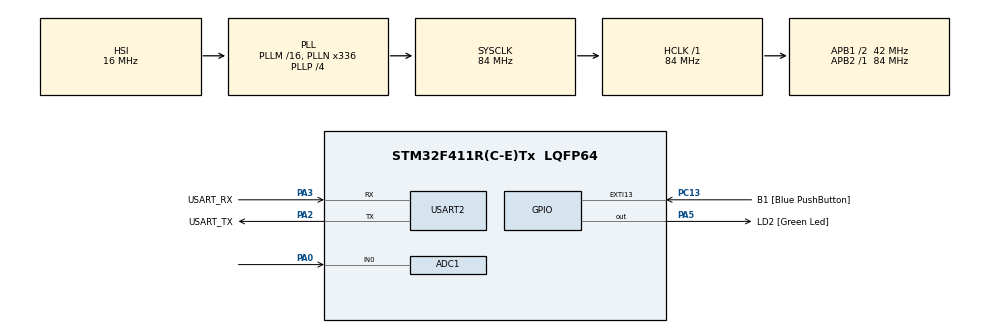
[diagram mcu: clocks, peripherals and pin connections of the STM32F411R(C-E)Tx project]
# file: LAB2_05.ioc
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ADC1.Channel-2\#ChannelRegularConversion=ADC_CHANNEL_0
ADC1.Channel-3\#ChannelRegularConversion=ADC_CHANNEL_TEMPSENSOR
ADC1.ContinuousConvMode=ENABLE
ADC1.DMAContinuousRequests=ENABLE
ADC1.NbrOfConversion=2
ADC1.NbrOfConversionFlag=1
ADC1.Rank-2\#ChannelRegularConversion=1
ADC1.Rank-3\#ChannelRegularConversion=2
ADC1.SamplingTime-2\#ChannelRegularConversion=ADC_SAMPLETIME_56CYCLES
ADC1.SamplingTime-3\#ChannelRegularConversion=ADC_SAMPLETIME_56CYCLES
ADC1.master=1
Dma.ADC1.0.Direction=DMA_PERIPH_TO_MEMORY
Dma.ADC1.0.FIFOMode=DMA_FIFOMODE_DISABLE
Dma.ADC1.0.Instance=DMA2_Stream0
Dma.ADC1.0.MemDataAlignment=DMA_MDATAALIGN_HALFWORD
Dma.ADC1.0.MemInc=DMA_MINC_ENABLE
Dma.ADC1.0.Mode=DMA_CIRCULAR
Dma.ADC1.0.PeriphDataAlignment=DMA_PDATAALIGN_HALFWORD
Dma.ADC1.0.PeriphInc=DMA_PINC_DISABLE
Dma.ADC1.0.Priority=DMA_PRIORITY_LOW
Dma.Request0=ADC1
Mcu.Family=STM32F4
Mcu.Name=STM32F411R(C-E)Tx
Mcu.Package=LQFP64
NVIC.ADC_IRQn=true\:0\:0\:false\:false\:true\:true\:true\:true
NVIC.DMA2_Stream0_IRQn=true\:0\:0\:false\:false\:true\:false\:true\:true
NVIC.PriorityGroup=NVIC_PRIORITYGROUP_0
PA0-WKUP.Signal=ADCx_IN0
PA13.GPIO_Label=TMS
PA13.Mode=Serial_Wire
PA13.Signal=SYS_JTMS-SWDIO
PA14.GPIO_Label=TCK
PA14.Mode=Serial_Wire
PA14.Signal=SYS_JTCK-SWCLK
PA2.GPIO_Label=USART_TX
PA2.Mode=Asynchronous
PA2.Signal=USART2_TX
PA3.GPIO_Label=USART_RX
PA3.Mode=Asynchronous
PA3.Signal=USART2_RX
PA5.GPIO_Label=LD2 [Green Led]
PA5.Signal=GPIO_Output
PB3.GPIO_Label=SWO
PB3.Signal=SYS_JTDO-SWO
PC13-ANTI_TAMP.GPIO_Label=B1 [Blue PushButton]
PC13-ANTI_TAMP.GPIO_ModeDefaultEXTI=GPIO_MODE_IT_FALLING
PC13-ANTI_TAMP.Signal=GPXTI13
PC14-OSC32_IN.Mode=LSE-External-Oscillator
PC14-OSC32_IN.Signal=RCC_OSC32_IN
PC15-OSC32_OUT.Mode=LSE-External-Oscillator
PC15-OSC32_OUT.Signal=RCC_OSC32_OUT
PH0\ -\ OSC_IN.Mode=HSE-External-Clock-Source
PH0\ -\ OSC_IN.Signal=RCC_OSC_IN
PH1\ -\ OSC_OUT.Mode=HSE-External-Clock-Source
PH1\ -\ OSC_OUT.Signal=RCC_OSC_OUT
ProjectManager.HeapSize=0x200
ProjectManager.StackSize=0x400
ProjectManager.TargetToolchain=STM32CubeIDE
RCC.48MHZClocksFreq_Value=84000000
RCC.AHBFreq_Value=84000000
RCC.APB1CLKDivider=RCC_HCLK_DIV2
RCC.APB1Freq_Value=42000000
RCC.APB1TimFreq_Value=84000000
RCC.APB2Freq_Value=84000000
RCC.APB2TimFreq_Value=84000000
RCC.CortexFreq_Value=84000000
RCC.FLatency-AdvancedSettings=FLASH_LATENCY_2
RCC.HCLKFreq_Value=84000000
RCC.HSE_VALUE=8000000
RCC.HSI_VALUE=16000000
RCC.PLLN=336
RCC.PLLP=RCC_PLLP_DIV4
RCC.SYSCLKFreq_VALUE=84000000
RCC.SYSCLKSource=RCC_SYSCLKSOURCE_PLLCLK
RCC.VCOOutputFreq_Value=336000000
SH.ADCx_IN0.0=ADC1_IN0,IN0
USART2.VirtualMode=VM_ASYNC
VP_ADC1_TempSens_Input.Mode=IN-TempSens
board=NUCLEO-F411RE

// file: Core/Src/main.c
/* USER CODE BEGIN Header */
/**
  ******************************************************************************
  * @file           : main.c
  * @brief          : Main program body
  ******************************************************************************
  * @attention
  *
  * Copyright (c) 2023 STMicroelectronics.
  * All rights reserved.
  *
  * This software is licensed under terms that can be found in the LICENSE file
  * in the root directory of this software component.
  * If no LICENSE file comes with this software, it is provided AS-IS.
  *
  ******************************************************************************
  */
/* USER CODE END Header */
#include "main.h"

ADC_HandleTypeDef hadc1;
DMA_HandleTypeDef hdma_adc1;

UART_HandleTypeDef huart2;

/* USER CODE BEGIN PV */
typedef struct{
	uint16_t Voltage;
	uint16_t Temp;
}DMA_ADC_BufferType;
DMA_ADC_BufferType buffer[10];

uint16_t AvgVolt, AvgTemp;
uint16_t AvgSumVolt, AvgSumTemp;
uint16_t AvgSumVoltBitBeforeGain , celsius;
uint16_t AvgSumVoltBitAfterGain, Kelvin;
/* USER CODE END PV */

void SystemClock_Config(void);
static void MX_GPIO_Init(void);
static void MX_DMA_Init(void);
static void MX_USART2_UART_Init(void);
static void MX_ADC1_Init(void);

int main(void)
{

  /* MCU Configuration--------------------------------------------------------*/

  /* Reset of all peripherals, Initializes the Flash interface and the Systick. */
  HAL_Init();

  /* Configure the system clock */
  SystemClock_Config();

  /* Initialize all configured peripherals */
  MX_GPIO_Init();
  MX_DMA_Init();
  MX_USART2_UART_Init();
  MX_ADC1_Init();
  /* USER CODE BEGIN 2 */
  HAL_ADC_Start_DMA(&hadc1, (uint32_t*)buffer, 1000);
  /* USER CODE END 2 */

  /* Infinite loop */
  while (1)
  {

    /* USER CODE BEGIN 3 */
	  for(int i = 0 ; i< 10 ; i++ ){
		 AvgSumVolt += buffer[i].Voltage;
	  }
	  AvgVolt = AvgSumVolt/10;
	  	  AvgSumVoltBitBeforeGain = (AvgSumVolt*0.081);
	  	  AvgSumVoltBitAfterGain = AvgSumVoltBitBeforeGain*2.025;
	  	  AvgSumVolt = 0;

	  for(int j = 0 ; j< 10 ; j++ ){
	  		 AvgSumTemp += buffer[j].Temp;
	  	  }
	  AvgTemp = AvgSumTemp/10;
	  celsius = AvgTemp*0.0243;
	  Kelvin = celsius+273.15;
	  AvgSumTemp = 0;

  }
  /* USER CODE END 3 */
}

void SystemClock_Config(void)
{
  RCC_OscInitTypeDef RCC_OscInitStruct = {0};
  RCC_ClkInitTypeDef RCC_ClkInitStruct = {0};

  /** Configure the main internal regulator output voltage
  */
  __HAL_RCC_PWR_CLK_ENABLE();
  __HAL_PWR_VOLTAGESCALING_CONFIG(PWR_REGULATOR_VOLTAGE_SCALE1);

  /** Initializes the RCC Oscillators according to the specified parameters
  * in the RCC_OscInitTypeDef structure.
  */
  RCC_OscInitStruct.OscillatorType = RCC_OSCILLATORTYPE_HSI;
  RCC_OscInitStruct.HSIState = RCC_HSI_ON;
  RCC_OscInitStruct.HSICalibrationValue = RCC_HSICALIBRATION_DEFAULT;
  RCC_OscInitStruct.PLL.PLLState = RCC_PLL_ON;
  RCC_OscInitStruct.PLL.PLLSource = RCC_PLLSOURCE_HSI;
  RCC_OscInitStruct.PLL.PLLM = 16;
  RCC_OscInitStruct.PLL.PLLN = 336;
  RCC_OscInitStruct.PLL.PLLP = RCC_PLLP_DIV4;
  RCC_OscInitStruct.PLL.PLLQ = 4;
  if (HAL_RCC_OscConfig(&RCC_OscInitStruct) != HAL_OK)
  {
    Error_Handler();
  }

  /** Initializes the CPU, AHB and APB buses clocks
  */
  RCC_ClkInitStruct.ClockType = RCC_CLOCKTYPE_HCLK|RCC_CLOCKTYPE_SYSCLK
                              |RCC_CLOCKTYPE_PCLK1|RCC_CLOCKTYPE_PCLK2;
  RCC_ClkInitStruct.SYSCLKSource = RCC_SYSCLKSOURCE_PLLCLK;
  RCC_ClkInitStruct.AHBCLKDivider = RCC_SYSCLK_DIV1;
  RCC_ClkInitStruct.APB1CLKDivider = RCC_HCLK_DIV2;
  RCC_ClkInitStruct.APB2CLKDivider = RCC_HCLK_DIV1;

  if (HAL_RCC_ClockConfig(&RCC_ClkInitStruct, FLASH_LATENCY_2) != HAL_OK)
  {
    Error_Handler();
  }
}

static void MX_ADC1_Init(void)
{

  ADC_ChannelConfTypeDef sConfig = {0};

  /** Configure the global features of the ADC (Clock, Resolution, Data Alignment and number of conversion)
  */
  hadc1.Instance = ADC1;
  hadc1.Init.ClockPrescaler = ADC_CLOCK_SYNC_PCLK_DIV4;
  hadc1.Init.Resolution = ADC_RESOLUTION_12B;
  hadc1.Init.ScanConvMode = ENABLE;
  hadc1.Init.ContinuousConvMode = ENABLE;
  hadc1.Init.DiscontinuousConvMode = DISABLE;
  hadc1.Init.ExternalTrigConvEdge = ADC_EXTERNALTRIGCONVEDGE_NONE;
  hadc1.Init.ExternalTrigConv = ADC_SOFTWARE_START;
  hadc1.Init.DataAlign = ADC_DATAALIGN_RIGHT;
  hadc1.Init.NbrOfConversion = 2;
  hadc1.Init.DMAContinuousRequests = ENABLE;
  hadc1.Init.EOCSelection = ADC_EOC_SINGLE_CONV;
  if (HAL_ADC_Init(&hadc1) != HAL_OK)
  {
    Error_Handler();
  }

  /** Configure for the selected ADC regular channel its corresponding rank in the sequencer and its sample time.
  */
  sConfig.Channel = ADC_CHANNEL_0;
  sConfig.Rank = 1;
  sConfig.SamplingTime = ADC_SAMPLETIME_56CYCLES;
  if (HAL_ADC_ConfigChannel(&hadc1, &sConfig) != HAL_OK)
  {
    Error_Handler();
  }

  /** Configure for the selected ADC regular channel its corresponding rank in the sequencer and its sample time.
  */
  sConfig.Channel = ADC_CHANNEL_TEMPSENSOR;
  sConfig.Rank = 2;
  if (HAL_ADC_ConfigChannel(&hadc1, &sConfig) != HAL_OK)
  {
    Error_Handler();
  }

}

static void MX_USART2_UART_Init(void)
{

  huart2.Instance = USART2;
  huart2.Init.BaudRate = 115200;
  huart2.Init.WordLength = UART_WORDLENGTH_8B;
  huart2.Init.StopBits = UART_STOPBITS_1;
  huart2.Init.Parity = UART_PARITY_NONE;
  huart2.Init.Mode = UART_MODE_TX_RX;
  huart2.Init.HwFlowCtl = UART_HWCONTROL_NONE;
  huart2.Init.OverSampling = UART_OVERSAMPLING_16;
  if (HAL_UART_Init(&huart2) != HAL_OK)
  {
    Error_Handler();
  }

}

static void MX_DMA_Init(void)
{

  /* DMA controller clock enable */
  __HAL_RCC_DMA2_CLK_ENABLE();

  /* DMA interrupt init */
  /* DMA2_Stream0_IRQn interrupt configuration */
  HAL_NVIC_SetPriority(DMA2_Stream0_IRQn, 0, 0);
  HAL_NVIC_EnableIRQ(DMA2_Stream0_IRQn);

}

static void MX_GPIO_Init(void)
{
  GPIO_InitTypeDef GPIO_InitStruct = {0};

  /* GPIO Ports Clock Enable */
  __HAL_RCC_GPIOC_CLK_ENABLE();
  __HAL_RCC_GPIOH_CLK_ENABLE();
  __HAL_RCC_GPIOA_CLK_ENABLE();
  __HAL_RCC_GPIOB_CLK_ENABLE();

  /*Configure GPIO pin Output Level */
  HAL_GPIO_WritePin(LD2_GPIO_Port, LD2_Pin, GPIO_PIN_RESET);

  /*Configure GPIO pin : B1_Pin */
  GPIO_InitStruct.Pin = B1_Pin;
  GPIO_InitStruct.Mode = GPIO_MODE_IT_FALLING;
  GPIO_InitStruct.Pull = GPIO_NOPULL;
  HAL_GPIO_Init(B1_GPIO_Port, &GPIO_InitStruct);

  /*Configure GPIO pin : LD2_Pin */
  GPIO_InitStruct.Pin = LD2_Pin;
  GPIO_InitStruct.Mode = GPIO_MODE_OUTPUT_PP;
  GPIO_InitStruct.Pull = GPIO_NOPULL;
  GPIO_InitStruct.Speed = GPIO_SPEED_FREQ_LOW;
  HAL_GPIO_Init(LD2_GPIO_Port, &GPIO_InitStruct);

}

/* USER CODE BEGIN 4 */
void HAL_GPIO_EXTI_Callback(uint16_t GPIO_pin)
{
	HAL_ADC_Start_DMA(&hadc1, (uint32_t*)buffer, 20);
}

void HAL_ADC_ConvCpltCallback(ADC_HandleTypeDef* hadc)
{
}
/* USER CODE END 4 */

void Error_Handler(void)
{
  __disable_irq();
  while (1)
  {
  }
}
